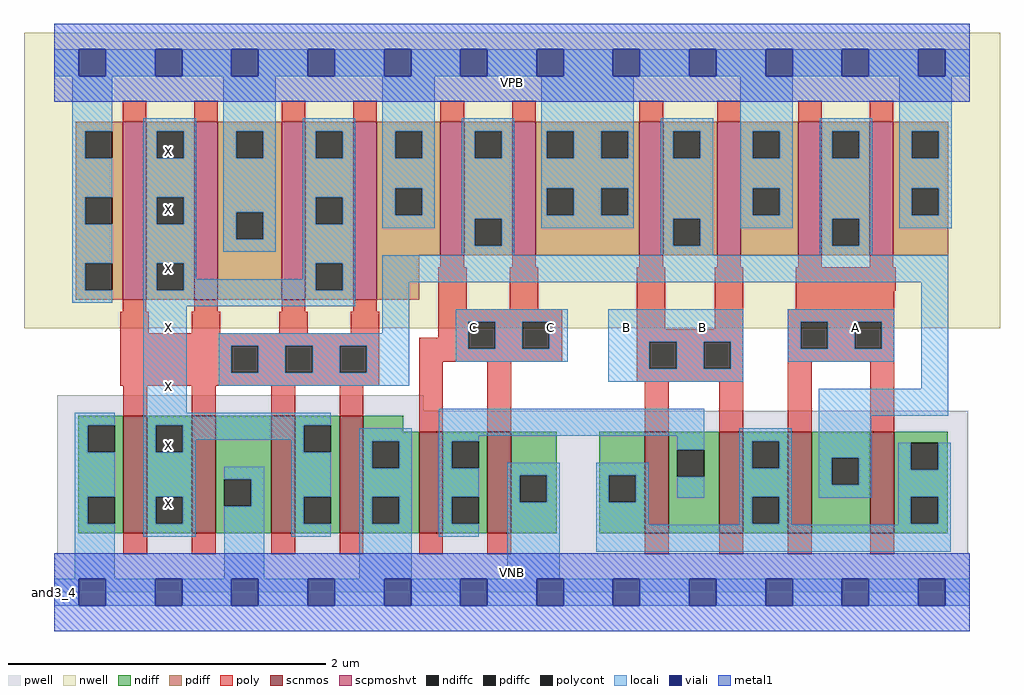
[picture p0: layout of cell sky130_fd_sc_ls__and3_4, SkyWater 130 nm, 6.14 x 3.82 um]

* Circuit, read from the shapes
.subckt sky130_fd_sc_ls__and3_4 A B C VGND VNB VPB VPWR X
XM1 X n1 VGND VNB sky130_fd_pr__nfet_01v8 w=0.74 l=0.15 m=4
XM2 n2 C VGND VNB sky130_fd_pr__nfet_01v8 w=0.64 l=0.15 m=2
XM3 n2 B n3 VNB sky130_fd_pr__nfet_01v8 w=0.64 l=0.15 m=2
XM4 n1 A n3 VNB sky130_fd_pr__nfet_01v8 w=0.64 l=0.15 m=2
XM5 X n1 VPWR VPB sky130_fd_pr__pfet_01v8_hvt w=1.12 l=0.15 m=4
XM6 n1 C VPWR VPB sky130_fd_pr__pfet_01v8_hvt w=0.84 l=0.15 m=2
XM7 n1 B VPWR VPB sky130_fd_pr__pfet_01v8_hvt w=0.84 l=0.15 m=2
XM8 n1 A VPWR VPB sky130_fd_pr__pfet_01v8_hvt w=0.84 l=0.15 m=2
.ends

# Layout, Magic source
magic
tech sky130A
magscale 1 2
<< nwell >>
rect -38 332 1190 704
<< pwell >>
rect 4 228 465 248
rect 4 49 1150 228
rect 0 0 1152 49
<< scnmos >>
rect 87 74 117 222
rect 173 74 203 222
rect 273 74 303 222
rect 359 74 389 222
rect 459 74 489 202
rect 545 74 575 202
rect 743 74 773 202
rect 837 74 867 202
rect 923 74 953 202
rect 1027 74 1057 202
<< scpmoshvt >>
rect 86 368 116 592
rect 176 368 206 592
rect 286 368 316 592
rect 376 368 406 592
rect 486 424 516 592
rect 576 424 606 592
rect 736 424 766 592
rect 834 424 864 592
rect 936 424 966 592
rect 1026 424 1056 592
<< ndiff >>
rect 30 210 87 222
rect 30 176 42 210
rect 76 176 87 210
rect 30 120 87 176
rect 30 86 42 120
rect 76 86 87 120
rect 30 74 87 86
rect 117 210 173 222
rect 117 176 128 210
rect 162 176 173 210
rect 117 120 173 176
rect 117 86 128 120
rect 162 86 173 120
rect 117 74 173 86
rect 203 142 273 222
rect 203 108 214 142
rect 248 108 273 142
rect 203 74 273 108
rect 303 210 359 222
rect 303 176 314 210
rect 348 176 359 210
rect 303 120 359 176
rect 303 86 314 120
rect 348 86 359 120
rect 303 74 359 86
rect 389 202 439 222
rect 389 190 459 202
rect 389 156 400 190
rect 434 156 459 190
rect 389 120 459 156
rect 389 86 400 120
rect 434 86 459 120
rect 389 74 459 86
rect 489 190 545 202
rect 489 156 500 190
rect 534 156 545 190
rect 489 120 545 156
rect 489 86 500 120
rect 534 86 545 120
rect 489 74 545 86
rect 575 147 632 202
rect 575 113 586 147
rect 620 113 632 147
rect 575 74 632 113
rect 686 147 743 202
rect 686 113 698 147
rect 732 113 743 147
rect 686 74 743 113
rect 773 179 837 202
rect 773 145 784 179
rect 818 145 837 179
rect 773 74 837 145
rect 867 190 923 202
rect 867 156 878 190
rect 912 156 923 190
rect 867 120 923 156
rect 867 86 878 120
rect 912 86 923 120
rect 867 74 923 86
rect 953 169 1027 202
rect 953 135 978 169
rect 1012 135 1027 169
rect 953 74 1027 135
rect 1057 188 1124 202
rect 1057 154 1078 188
rect 1112 154 1124 188
rect 1057 120 1124 154
rect 1057 86 1078 120
rect 1112 86 1124 120
rect 1057 74 1124 86
<< pdiff >>
rect 27 580 86 592
rect 27 546 39 580
rect 73 546 86 580
rect 27 497 86 546
rect 27 463 39 497
rect 73 463 86 497
rect 27 414 86 463
rect 27 380 39 414
rect 73 380 86 414
rect 27 368 86 380
rect 116 580 176 592
rect 116 546 129 580
rect 163 546 176 580
rect 116 497 176 546
rect 116 463 129 497
rect 163 463 176 497
rect 116 414 176 463
rect 116 380 129 414
rect 163 380 176 414
rect 116 368 176 380
rect 206 580 286 592
rect 206 546 229 580
rect 263 546 286 580
rect 206 478 286 546
rect 206 444 229 478
rect 263 444 286 478
rect 206 368 286 444
rect 316 580 376 592
rect 316 546 329 580
rect 363 546 376 580
rect 316 497 376 546
rect 316 463 329 497
rect 363 463 376 497
rect 316 414 376 463
rect 316 380 329 414
rect 363 380 376 414
rect 316 368 376 380
rect 406 580 486 592
rect 406 546 429 580
rect 463 546 486 580
rect 406 508 486 546
rect 406 474 429 508
rect 463 474 486 508
rect 406 424 486 474
rect 516 580 576 592
rect 516 546 529 580
rect 563 546 576 580
rect 516 470 576 546
rect 516 436 529 470
rect 563 436 576 470
rect 516 424 576 436
rect 606 580 736 592
rect 606 546 620 580
rect 654 546 688 580
rect 722 546 736 580
rect 606 508 736 546
rect 606 474 620 508
rect 654 474 688 508
rect 722 474 736 508
rect 606 424 736 474
rect 766 580 834 592
rect 766 546 779 580
rect 813 546 834 580
rect 766 470 834 546
rect 766 436 779 470
rect 813 436 834 470
rect 766 424 834 436
rect 864 580 936 592
rect 864 546 879 580
rect 913 546 936 580
rect 864 508 936 546
rect 864 474 879 508
rect 913 474 936 508
rect 864 424 936 474
rect 966 580 1026 592
rect 966 546 979 580
rect 1013 546 1026 580
rect 966 470 1026 546
rect 966 436 979 470
rect 1013 436 1026 470
rect 966 424 1026 436
rect 1056 580 1125 592
rect 1056 546 1079 580
rect 1113 546 1125 580
rect 1056 508 1125 546
rect 1056 474 1079 508
rect 1113 474 1125 508
rect 1056 424 1125 474
rect 406 368 459 424
<< ndiffc >>
rect 42 176 76 210
rect 42 86 76 120
rect 128 176 162 210
rect 128 86 162 120
rect 214 108 248 142
rect 314 176 348 210
rect 314 86 348 120
rect 400 156 434 190
rect 400 86 434 120
rect 500 156 534 190
rect 500 86 534 120
rect 586 113 620 147
rect 698 113 732 147
rect 784 145 818 179
rect 878 156 912 190
rect 878 86 912 120
rect 978 135 1012 169
rect 1078 154 1112 188
rect 1078 86 1112 120
<< pdiffc >>
rect 39 546 73 580
rect 39 463 73 497
rect 39 380 73 414
rect 129 546 163 580
rect 129 463 163 497
rect 129 380 163 414
rect 229 546 263 580
rect 229 444 263 478
rect 329 546 363 580
rect 329 463 363 497
rect 329 380 363 414
rect 429 546 463 580
rect 429 474 463 508
rect 529 546 563 580
rect 529 436 563 470
rect 620 546 654 580
rect 688 546 722 580
rect 620 474 654 508
rect 688 474 722 508
rect 779 546 813 580
rect 779 436 813 470
rect 879 546 913 580
rect 879 474 913 508
rect 979 546 1013 580
rect 979 436 1013 470
rect 1079 546 1113 580
rect 1079 474 1113 508
<< poly >>
rect 86 592 116 618
rect 176 592 206 618
rect 286 592 316 618
rect 376 592 406 618
rect 486 592 516 618
rect 576 592 606 618
rect 736 592 766 618
rect 834 592 864 618
rect 936 592 966 618
rect 1026 592 1056 618
rect 486 409 516 424
rect 576 409 606 424
rect 736 409 766 424
rect 834 409 864 424
rect 936 409 966 424
rect 1026 409 1056 424
rect 86 353 116 368
rect 176 353 206 368
rect 286 353 316 368
rect 376 353 406 368
rect 483 356 519 409
rect 573 356 609 409
rect 83 326 119 353
rect 173 326 209 353
rect 283 326 319 353
rect 373 326 409 353
rect 83 310 409 326
rect 483 340 639 356
rect 483 320 521 340
rect 83 276 223 310
rect 257 276 291 310
rect 325 276 359 310
rect 393 276 409 310
rect 83 260 409 276
rect 459 306 521 320
rect 555 306 589 340
rect 623 306 639 340
rect 459 290 639 306
rect 733 331 769 409
rect 831 331 867 409
rect 933 379 1059 409
rect 933 356 1057 379
rect 733 315 867 331
rect 87 222 117 260
rect 173 222 203 260
rect 273 222 303 260
rect 359 222 389 260
rect 459 202 489 290
rect 545 202 575 290
rect 733 281 749 315
rect 783 281 817 315
rect 851 281 867 315
rect 733 265 867 281
rect 743 202 773 265
rect 837 202 867 265
rect 923 340 1057 356
rect 923 306 939 340
rect 973 306 1007 340
rect 1041 306 1057 340
rect 923 290 1057 306
rect 923 202 953 290
rect 1027 202 1057 290
rect 87 48 117 74
rect 173 48 203 74
rect 273 48 303 74
rect 359 48 389 74
rect 459 48 489 74
rect 545 48 575 74
rect 743 48 773 74
rect 837 48 867 74
rect 923 48 953 74
rect 1027 48 1057 74
<< polycont >>
rect 223 276 257 310
rect 291 276 325 310
rect 359 276 393 310
rect 521 306 555 340
rect 589 306 623 340
rect 749 281 783 315
rect 817 281 851 315
rect 939 306 973 340
rect 1007 306 1041 340
<< locali >>
rect 0 649 31 683
rect 65 649 127 683
rect 161 649 223 683
rect 257 649 319 683
rect 353 649 415 683
rect 449 649 511 683
rect 545 649 607 683
rect 641 649 703 683
rect 737 649 799 683
rect 833 649 895 683
rect 929 649 991 683
rect 1025 649 1087 683
rect 1121 649 1152 683
rect 23 580 73 649
rect 23 546 39 580
rect 23 497 73 546
rect 23 463 39 497
rect 23 414 73 463
rect 23 380 39 414
rect 23 364 73 380
rect 112 580 179 596
rect 112 546 129 580
rect 163 546 179 580
rect 112 497 179 546
rect 112 463 129 497
rect 163 463 179 497
rect 112 414 179 463
rect 213 580 279 649
rect 213 546 229 580
rect 263 546 279 580
rect 213 478 279 546
rect 213 444 229 478
rect 263 444 279 478
rect 213 428 279 444
rect 313 580 379 596
rect 313 546 329 580
rect 363 546 379 580
rect 313 497 379 546
rect 313 463 329 497
rect 363 463 379 497
rect 112 380 129 414
rect 163 394 179 414
rect 313 414 379 463
rect 413 580 479 649
rect 413 546 429 580
rect 463 546 479 580
rect 413 508 479 546
rect 413 474 429 508
rect 463 474 479 508
rect 413 458 479 474
rect 513 580 579 596
rect 513 546 529 580
rect 563 546 579 580
rect 513 470 579 546
rect 513 436 529 470
rect 563 436 579 470
rect 613 580 729 649
rect 613 546 620 580
rect 654 546 688 580
rect 722 546 729 580
rect 613 508 729 546
rect 613 474 620 508
rect 654 474 688 508
rect 722 474 729 508
rect 613 458 729 474
rect 763 580 829 596
rect 763 546 779 580
rect 813 546 829 580
rect 763 470 829 546
rect 513 424 579 436
rect 763 436 779 470
rect 813 436 829 470
rect 863 580 929 649
rect 863 546 879 580
rect 913 546 929 580
rect 863 508 929 546
rect 863 474 879 508
rect 913 474 929 508
rect 863 458 929 474
rect 963 580 1029 596
rect 963 546 979 580
rect 1013 546 1029 580
rect 963 470 1029 546
rect 763 424 829 436
rect 963 436 979 470
rect 1013 436 1029 470
rect 1063 580 1129 649
rect 1063 546 1079 580
rect 1113 546 1129 580
rect 1063 508 1129 546
rect 1063 474 1079 508
rect 1113 474 1129 508
rect 1063 458 1129 474
rect 963 424 1029 436
rect 313 394 329 414
rect 163 380 329 394
rect 363 380 379 414
rect 112 360 379 380
rect 413 390 1125 424
rect 112 226 167 360
rect 413 326 447 390
rect 207 310 447 326
rect 207 276 223 310
rect 257 276 291 310
rect 325 276 359 310
rect 393 276 447 310
rect 505 340 646 356
rect 505 306 521 340
rect 555 306 589 340
rect 623 306 646 340
rect 505 290 646 306
rect 697 315 867 356
rect 207 260 447 276
rect 697 281 749 315
rect 783 281 817 315
rect 851 281 867 315
rect 923 340 1057 356
rect 923 306 939 340
rect 973 306 1007 340
rect 1041 306 1057 340
rect 923 290 1057 306
rect 697 265 867 281
rect 1091 256 1125 390
rect 26 210 76 226
rect 26 176 42 210
rect 26 120 76 176
rect 26 86 42 120
rect 26 17 76 86
rect 112 210 348 226
rect 112 176 128 210
rect 162 192 314 210
rect 162 176 178 192
rect 112 120 178 176
rect 298 176 314 192
rect 112 86 128 120
rect 162 86 178 120
rect 112 70 178 86
rect 214 142 264 158
rect 248 108 264 142
rect 214 17 264 108
rect 298 120 348 176
rect 298 86 314 120
rect 298 70 348 86
rect 384 190 450 206
rect 384 156 400 190
rect 434 156 450 190
rect 384 120 450 156
rect 384 86 400 120
rect 434 86 450 120
rect 384 17 450 86
rect 484 197 818 231
rect 962 222 1125 256
rect 484 190 534 197
rect 484 156 500 190
rect 784 179 818 197
rect 484 120 534 156
rect 484 86 500 120
rect 484 70 534 86
rect 570 147 636 163
rect 570 113 586 147
rect 620 113 636 147
rect 570 17 636 113
rect 682 147 748 163
rect 682 113 698 147
rect 732 113 748 147
rect 784 119 818 145
rect 862 190 928 206
rect 862 156 878 190
rect 912 156 928 190
rect 862 120 928 156
rect 682 85 748 113
rect 862 86 878 120
rect 912 86 928 120
rect 962 169 1028 222
rect 962 135 978 169
rect 1012 135 1028 169
rect 962 119 1028 135
rect 1062 154 1078 188
rect 1112 154 1128 188
rect 1062 120 1128 154
rect 862 85 928 86
rect 1062 86 1078 120
rect 1112 86 1128 120
rect 1062 85 1128 86
rect 682 51 1128 85
rect 0 -17 31 17
rect 65 -17 127 17
rect 161 -17 223 17
rect 257 -17 319 17
rect 353 -17 415 17
rect 449 -17 511 17
rect 545 -17 607 17
rect 641 -17 703 17
rect 737 -17 799 17
rect 833 -17 895 17
rect 929 -17 991 17
rect 1025 -17 1087 17
rect 1121 -17 1152 17
<< viali >>
rect 31 649 65 683
rect 127 649 161 683
rect 223 649 257 683
rect 319 649 353 683
rect 415 649 449 683
rect 511 649 545 683
rect 607 649 641 683
rect 703 649 737 683
rect 799 649 833 683
rect 895 649 929 683
rect 991 649 1025 683
rect 1087 649 1121 683
rect 31 -17 65 17
rect 127 -17 161 17
rect 223 -17 257 17
rect 319 -17 353 17
rect 415 -17 449 17
rect 511 -17 545 17
rect 607 -17 641 17
rect 703 -17 737 17
rect 799 -17 833 17
rect 895 -17 929 17
rect 991 -17 1025 17
rect 1087 -17 1121 17
<< metal1 >>
rect 0 683 1152 715
rect 0 649 31 683
rect 65 649 127 683
rect 161 649 223 683
rect 257 649 319 683
rect 353 649 415 683
rect 449 649 511 683
rect 545 649 607 683
rect 641 649 703 683
rect 737 649 799 683
rect 833 649 895 683
rect 929 649 991 683
rect 1025 649 1087 683
rect 1121 649 1152 683
rect 0 617 1152 649
rect 0 17 1152 49
rect 0 -17 31 17
rect 65 -17 127 17
rect 161 -17 223 17
rect 257 -17 319 17
rect 353 -17 415 17
rect 449 -17 511 17
rect 545 -17 607 17
rect 641 -17 703 17
rect 737 -17 799 17
rect 833 -17 895 17
rect 929 -17 991 17
rect 1025 -17 1087 17
rect 1121 -17 1152 17
rect 0 -49 1152 -17
<< labels >>
rlabel comment s 0 0 0 0 4 and3_4
flabel pwell s 0 0 1152 49 0 FreeSans 200 0 0 0 VNB
port 5 nsew ground bidirectional
flabel nwell s 0 617 1152 666 0 FreeSans 200 0 0 0 VPB
port 6 nsew power bidirectional
flabel metal1 s 0 617 1152 666 0 FreeSans 340 0 0 0 VPWR
port 7 nsew power bidirectional abutment
flabel metal1 s 0 0 1152 49 0 FreeSans 340 0 0 0 VGND
port 4 nsew ground bidirectional abutment
flabel locali s 127 94 161 128 0 FreeSans 340 0 0 0 X
port 8 nsew signal output
flabel locali s 127 168 161 202 0 FreeSans 340 0 0 0 X
port 8 nsew signal output
flabel locali s 127 242 161 276 0 FreeSans 340 0 0 0 X
port 8 nsew signal output
flabel locali s 127 316 161 350 0 FreeSans 340 0 0 0 X
port 8 nsew signal output
flabel locali s 127 390 161 424 0 FreeSans 340 0 0 0 X
port 8 nsew signal output
flabel locali s 127 464 161 498 0 FreeSans 340 0 0 0 X
port 8 nsew signal output
flabel locali s 127 538 161 572 0 FreeSans 340 0 0 0 X
port 8 nsew signal output
flabel locali s 991 316 1025 350 0 FreeSans 340 0 0 0 A
port 1 nsew signal input
flabel locali s 703 316 737 350 0 FreeSans 340 0 0 0 B
port 2 nsew signal input
flabel locali s 799 316 833 350 0 FreeSans 340 0 0 0 B
port 2 nsew signal input
flabel locali s 511 316 545 350 0 FreeSans 340 0 0 0 C
port 3 nsew signal input
flabel locali s 607 316 641 350 0 FreeSans 340 0 0 0 C
port 3 nsew signal input
<< properties >>
string LEFsite unit
string LEFclass CORE
string FIXED_BBOX 0 0 1152 666
string GDS_FILE $PDKPATH/libs.ref/sky130_fd_sc_ls/gds/sky130_fd_sc_ls.gds
string LEFsymmetry X Y
string GDS_END 2974598
string GDS_START 2964178
<< end >>
